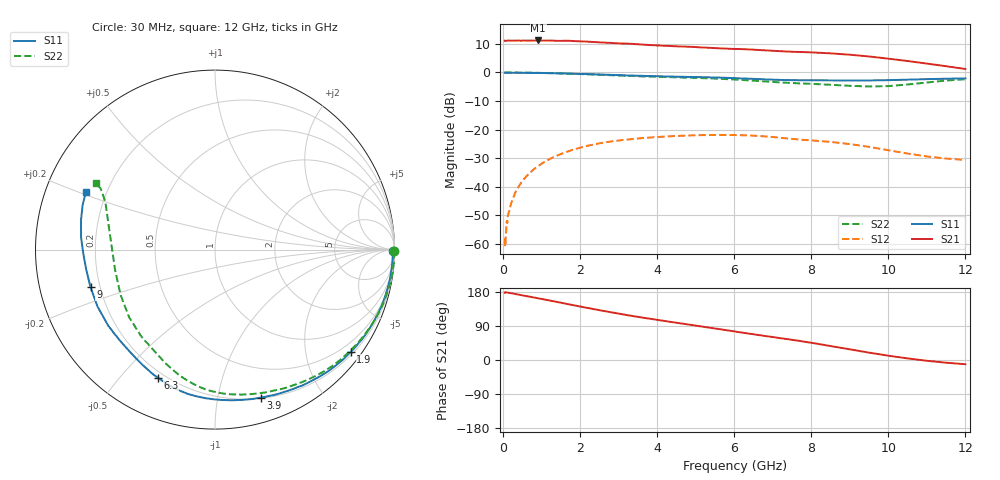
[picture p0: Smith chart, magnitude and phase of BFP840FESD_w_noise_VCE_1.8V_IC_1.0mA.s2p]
! Infineon Technologies  Discrete & RF Semiconductors
! BFP840FESD
! VCE =  1.8 V,  IC =  1.0 mA
! Common Emitter S-Parameters:  May 2012
# GHz  S  MA  R  50
!  f  S11  S21  S12  S22
! GHz  MAG  ANG  MAG  ANG  MAG  ANG  MAG  ANG
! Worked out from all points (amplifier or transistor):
!   103 points, 30 MHz to 12 GHz, reference 50 ohm
!   highest |S21| = 11.2 dB at 900 MHz (marker M1)
!   |S21| within 3 dB of that: start of sweep to 6.112 GHz
!   unconditionally stable (mu >= 1): 8.752 GHz to end of sweep
!   at 400 MHz: K = -0.01, MSG = 25.6 dB, |S12| = -39.9 dB
!   at 3.7 GHz: K = 0.17, MSG = 16.3 dB, |S12| = -22.9 dB
!   at 12 GHz: K = 1.93, MAG = 10.4 dB, |S12| = -30.7 dB
!   lowest NFmin = 0.57 dB at 450 MHz
!   S11 on the Smith chart (normalised r, x): 30 MHz: open; 1.9 GHz: 0.27, -2.98; 3.9 GHz: 0.21, -1.33; 6.3 GHz: 0.17, -0.64; 9 GHz: 0.16, -0.14; 12 GHz: 0.12, +0.21
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0.03  0.991 -0.6  3.607 177.5  0.0009 69.3  0.9996 -0.6
0.04  0.9911 -0.8  3.582 177.4  0.0013 101.9  0.9996 -0.8
0.05  0.9909 -1.0  3.582 178.8  0.0009 72.2  1 -1.0
0.06  0.9917 -1.2  3.577 178.7  0.0015 91.3  0.9991 -1.1
0.08  0.9903 -1.6  3.601 178.3  0.0023 84.5  0.9995 -1.5
0.1  0.9908 -1.9  3.616 178.0  0.0023 88.1  0.999 -1.8
0.11  0.9908 -2.2  3.617 177.8  0.003 86.4  0.999 -2.0
0.3  0.9898 -5.8  3.615 174.3  0.0077 85.3  0.9979 -5.5
0.9  0.9808 -17.5  3.646 162.9  0.0228 75.4  0.9856 -16.5
1.6  0.9597 -31.2  3.607 149.0  0.0397 63.1  0.9584 -29.8
1.9  0.9468 -36.9  3.538 143.0  0.0461 57.5  0.9434 -35.7
2.1  0.9397 -40.8  3.5 139.0  0.0503 54.1  0.9339 -39.6
3.2  0.89 -60.8  3.215 118.7  0.0664 36.1  0.8738 -59.6
3.9  0.8626 -72.9  3.009 107.4  0.073 26.6  0.8429 -70.8
4.1  0.857 -76.5  2.959 104.3  0.0746 24.2  0.8355 -73.7
4.9  0.8339 -90.6  2.814 92.2  0.0789 14.1  0.8078 -85.2
6.1  0.7914 -110.6  2.583 73.8  0.0798 -0.9  0.7462 -101.8
6.3  0.7817 -114.0  2.552 70.8  0.079 -3.5  0.7327 -104.7
8.5  0.7274 -154.2  2.167 36.8  0.0606 -21.4  0.6088 -141.8
9  0.7244 -163.2  2.05 28.1  0.0555 -24.6  0.5836 -154.2
10.5  0.7492 174.8  1.589 4.2  0.0379 -23.5  0.6161 165.2
12  0.7879 156.0  1.153 -11.2  0.0292 -1.9  0.7609 150.9
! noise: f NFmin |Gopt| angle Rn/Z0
0.45  0.57  0.78  7  0.51
0.9  0.66  0.77  14  0.5
1.5  0.78  0.72  22  0.45
1.9  0.84  0.68  29  0.43
2.4  0.91  0.66  37  0.43
3.5  0.99  0.63  56  0.39
5.5  1.2  0.52  89  0.28
8  1.7  0.46  149  0.18
10  1.98  0.47  -173  0.14
12  2.15  0.62  -141  0.18
